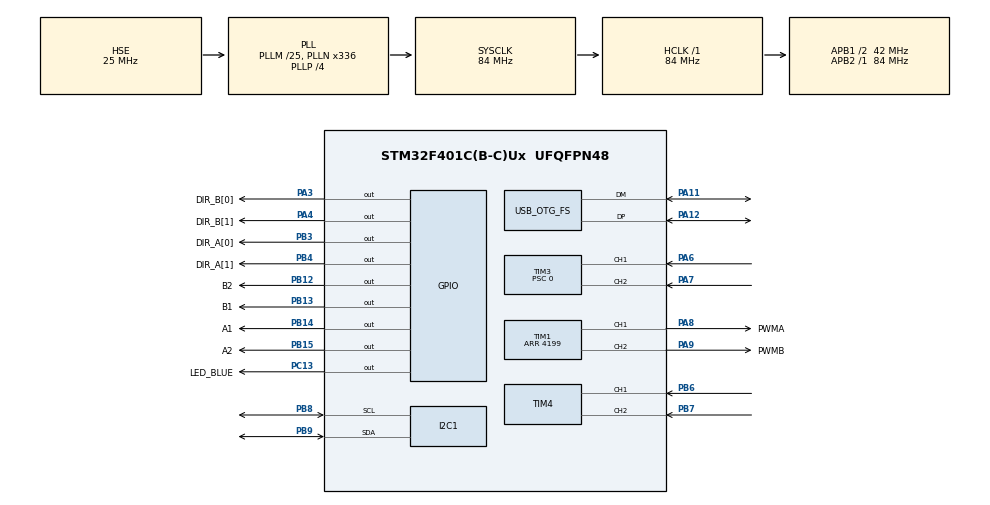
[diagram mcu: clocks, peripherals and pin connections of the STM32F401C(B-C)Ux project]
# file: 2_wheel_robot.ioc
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FREERTOS.Tasks01=defaultTask,0,128,StartDefaultTask,Default,NULL,Dynamic,NULL,NULL;ControlTask,0,512,StartControlTask,Default,NULL,Dynamic,NULL,NULL;MPUTask,3,512,StartMPUTask,Default,NULL,Dynamic,NULL,NULL
I2C1.I2C_Mode=I2C_Fast
Mcu.Family=STM32F4
Mcu.Name=STM32F401C(B-C)Ux
Mcu.Package=UFQFPN48
NVIC.OTG_FS_IRQn=true\:5\:0\:false\:false\:true\:true\:false\:true\:true
NVIC.PriorityGroup=NVIC_PRIORITYGROUP_4
NVIC.TIM1_BRK_TIM9_IRQn=true\:15\:0\:false\:false\:true\:false\:false\:true\:true
NVIC.TIM2_IRQn=true\:5\:0\:true\:false\:true\:true\:true\:true\:true
NVIC.TimeBase=TIM1_BRK_TIM9_IRQn
NVIC.TimeBaseIP=TIM9
PA11.Mode=Device_Only
PA11.Signal=USB_OTG_FS_DM
PA12.Mode=Device_Only
PA12.Signal=USB_OTG_FS_DP
PA13.Mode=Serial_Wire
PA13.Signal=SYS_JTMS-SWDIO
PA14.Mode=Serial_Wire
PA14.Signal=SYS_JTCK-SWCLK
PA3.GPIO_Label=DIR_B[0]
PA3.Signal=GPIO_Output
PA4.GPIO_Label=DIR_B[1]
PA4.Signal=GPIO_Output
PA6.Signal=S_TIM3_CH1
PA7.Signal=S_TIM3_CH2
PA8.GPIO_Label=PWMA
PA8.Signal=S_TIM1_CH1
PA9.GPIO_Label=PWMB
PA9.Signal=S_TIM1_CH2
PB12.GPIO_Label=B2
PB12.Signal=GPIO_Output
PB13.GPIO_Label=B1
PB13.Signal=GPIO_Output
PB14.GPIO_Label=A1
PB14.Signal=GPIO_Output
PB15.GPIO_Label=A2
PB15.Signal=GPIO_Output
PB3.GPIO_Label=DIR_A[0]
PB3.Signal=GPIO_Output
PB4.GPIO_Label=DIR_A[1]
PB4.Signal=GPIO_Output
PB6.Signal=S_TIM4_CH1
PB7.Signal=S_TIM4_CH2
PB8.Mode=I2C
PB8.Signal=I2C1_SCL
PB9.Mode=I2C
PB9.Signal=I2C1_SDA
PC13-ANTI_TAMP.GPIO_Label=LED_BLUE
PC13-ANTI_TAMP.Signal=GPIO_Output
PC14-OSC32_IN.Mode=LSE-External-Oscillator
PC14-OSC32_IN.Signal=RCC_OSC32_IN
PC15-OSC32_OUT.Mode=LSE-External-Oscillator
PC15-OSC32_OUT.Signal=RCC_OSC32_OUT
PH0\ -\ OSC_IN.Mode=HSE-External-Oscillator
PH0\ -\ OSC_IN.Signal=RCC_OSC_IN
PH1\ -\ OSC_OUT.Mode=HSE-External-Oscillator
PH1\ -\ OSC_OUT.Signal=RCC_OSC_OUT
ProjectManager.HeapSize=0x200
ProjectManager.StackSize=0x400
ProjectManager.TargetToolchain=STM32CubeIDE
RCC.48MHZClocksFreq_Value=48000000
RCC.AHBFreq_Value=84000000
RCC.APB1CLKDivider=RCC_HCLK_DIV2
RCC.APB1Freq_Value=42000000
RCC.APB1TimFreq_Value=84000000
RCC.APB2Freq_Value=84000000
RCC.APB2TimFreq_Value=84000000
RCC.CortexFreq_Value=84000000
RCC.HCLKFreq_Value=84000000
RCC.HSE_VALUE=25000000
RCC.HSI_VALUE=16000000
RCC.PLLM=25
RCC.PLLN=336
RCC.PLLP=RCC_PLLP_DIV4
RCC.PLLQ=7
RCC.SYSCLKFreq_VALUE=84000000
RCC.SYSCLKSource=RCC_SYSCLKSOURCE_PLLCLK
RCC.VCOOutputFreq_Value=336000000
SH.S_TIM1_CH1.0=TIM1_CH1,PWM Generation1 CH1
SH.S_TIM1_CH2.0=TIM1_CH2,PWM Generation2 CH2
SH.S_TIM3_CH1.0=TIM3_CH1,Encoder_Interface
SH.S_TIM3_CH2.0=TIM3_CH2,Encoder_Interface
SH.S_TIM4_CH1.0=TIM4_CH1,Encoder_Interface
SH.S_TIM4_CH2.0=TIM4_CH2,Encoder_Interface
TIM1.Channel-PWM\ Generation1\ CH1=TIM_CHANNEL_1
TIM1.Channel-PWM\ Generation2\ CH2=TIM_CHANNEL_2
TIM1.Period=4199
TIM2.Period=41999
TIM2.Prescaler=1
TIM3.EncoderMode=TIM_ENCODERMODE_TI12
TIM3.IC1Filter=10
TIM3.IC2Filter=10
TIM3.Period=65535
TIM3.Prescaler=0
TIM4.EncoderMode=TIM_ENCODERMODE_TI12
TIM4.IC1Filter=10
TIM4.IC2Filter=10
USB_DEVICE.CLASS_NAME_FS=CDC
USB_DEVICE.VirtualMode=Cdc
USB_DEVICE.VirtualModeFS=Cdc_FS
USB_OTG_FS.VirtualMode=Device_Only
VP_FREERTOS_VS_CMSIS_V1.Mode=CMSIS_V1
VP_SYS_VS_tim9.Mode=TIM9
VP_TIM1_VS_ClockSourceINT.Mode=Internal
VP_TIM2_VS_ClockSourceINT.Mode=Internal
VP_USB_DEVICE_VS_USB_DEVICE_CDC_FS.Mode=CDC_FS
board=custom

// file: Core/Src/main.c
/* USER CODE BEGIN Header */
/**
  ******************************************************************************
  * @file           : main.c
  * @brief          : Main program body
  ******************************************************************************
  * @attention
  *
  * Copyright (c) 2025 STMicroelectronics.
  * All rights reserved.
  *
  * This software is licensed under terms that can be found in the LICENSE file
  * in the root directory of this software component.
  * If no LICENSE file comes with this software, it is provided AS-IS.
  *
  ******************************************************************************
  */
/* USER CODE END Header */
#include "main.h"
#include "cmsis_os.h"
#include "usb_device.h"

/* USER CODE BEGIN Includes */
#include "mpu6050.h"
#include "pid.h"
#include "DCmotor.h"
#include "stdio.h"
#include "usbd_cdc_if.h"
#include "send_data.h"
#include <math.h>
/* USER CODE END Includes */

/* USER CODE BEGIN PD */
#define RAD_TO_DEG 			57.2957795
#define	DELTA				5.0f
#define MPU_DELTA			0.5f
#define MPU_DT				((float)MPU_DELTA / 1000.0)
#define DT_SECONDS 			0.005f
#define MAX_SPEED			150U
// ms
/* USER CODE END PD */

I2C_HandleTypeDef hi2c1;

TIM_HandleTypeDef htim1;
TIM_HandleTypeDef htim2;
TIM_HandleTypeDef htim3;
TIM_HandleTypeDef htim4;

osThreadId defaultTaskHandle;
osThreadId ControlTaskHandle;
osThreadId MPUTaskHandle;
/* USER CODE BEGIN PV */

DCmotor motor1 = {
    .PORT_M1 = A1_GPIO_Port, .PIN_M1 = A1_Pin,
    .PORT_M2 = A2_GPIO_Port, .PIN_M2 = A2_Pin,
    .pwm_tim = &htim1, .pwm_channel = TIM_CHANNEL_1,
    .encoder_tim = &htim3
};
DCmotor motor2 = {
    .PORT_M1 = B1_GPIO_Port, .PIN_M1 = B1_Pin,
    .PORT_M2 = B2_GPIO_Port, .PIN_M2 = B2_Pin,
    .pwm_tim = &htim1, .pwm_channel = TIM_CHANNEL_2,
    .encoder_tim = &htim4
};
//extern USBD_HandleTypeDef hUsbDeviceFS;
volatile int speed = 0, delta = 0;
volatile uint_fast8_t update_log = 0;
MPUData mpudata;
static float_t pre_angle = 0.0f, setpoint = 0.0f, setpoint_physical = 4.8f;
float alpha[2] = {0.998f, 0.25f};

static float filt_rpm1 	= 0.0f,
			 filt_rpm2 	= 0.0f,
			 filt_angle = 0.0f;

PIDParam Ks = {
    .Kp = 0.02f,
    .Ki = 0.00f,
    .Kd = 0.0f,
	.Kff = 0.0f
};
PIDParam Ka = {15.68, 0.0, 0.4015};

PIDError angle_error1 = {0};
PIDError speed_error1 = {0};
PIDError speed_error2 = {0};
/* USER CODE END PV */

void SystemClock_Config(void);
static void MX_GPIO_Init(void);
static void MX_I2C1_Init(void);
static void MX_TIM1_Init(void);
static void MX_TIM3_Init(void);
static void MX_TIM4_Init(void);
static void MX_TIM2_Init(void);
void StartDefaultTask(void const * argument);
void StartControlTask(void const * argument);
void StartMPUTask(void const * argument);

/* USER CODE BEGIN PFP */
void Robo_Init();
/* USER CODE END PFP */

int main(void)
{

  /* MCU Configuration--------------------------------------------------------*/

  /* Reset of all peripherals, Initializes the Flash interface and the Systick. */
  HAL_Init();

  /* Configure the system clock */
  SystemClock_Config();

  /* Initialize all configured peripherals */
  MX_GPIO_Init();
  MX_I2C1_Init();
  MX_TIM1_Init();
  MX_TIM3_Init();
  MX_TIM4_Init();
  MX_TIM2_Init();
  /* USER CODE BEGIN 2 */

  HAL_GPIO_WritePin(GPIOC,LED_BLUE_Pin, GPIO_PIN_SET);
  MPU6050_Init(&hi2c1);
  MX_USB_DEVICE_Init();
  // Initialize angle
  MPU6050_Read_Data(&hi2c1, &mpudata);
  Robo_Init();

  HAL_TIM_PWM_Start(&htim1, TIM_CHANNEL_1);
  HAL_TIM_PWM_Start(&htim1, TIM_CHANNEL_2);
  HAL_TIM_Encoder_Start(&htim3, TIM_CHANNEL_ALL);
  HAL_TIM_Encoder_Start(&htim4, TIM_CHANNEL_ALL);

  /* USER CODE END 2 */

  /* Create the thread(s) */
  /* definition and creation of defaultTask */
  osThreadDef(defaultTask, StartDefaultTask, osPriorityNormal, 0, 128);
  defaultTaskHandle = osThreadCreate(osThread(defaultTask), NULL);

  /* definition and creation of ControlTask */
  osThreadDef(ControlTask, StartControlTask, osPriorityNormal, 0, 512);
  ControlTaskHandle = osThreadCreate(osThread(ControlTask), NULL);

  /* definition and creation of MPUTask */
  osThreadDef(MPUTask, StartMPUTask, osPriorityRealtime, 0, 512);
  MPUTaskHandle = osThreadCreate(osThread(MPUTask), NULL);

  /* Start scheduler */
  osKernelStart();

  /* We should never get here as control is now taken by the scheduler */

  /* Infinite loop */
  /* USER CODE BEGIN WHILE */

  while (1)
  {
//	  if (update_log) {
//		  update_log = 0;
//		  MPU6050_Read_Data(&hi2c1, &mpudata);
//
////		  uint32_t previousWakeTime = osKernelSysTick();
////		  PID_motor_calculate(&Ka, &angle_error1, setpoint, filt_angle, dt_seconds);
////		  speed = 10; // 50 RPM
//		  // 3. Tính toán tốc độ (RPM)
//		  int32_t delta_tick1 = DCmotor_getEncoder(&motor1);
//		  int32_t delta_tick2 = DCmotor_getEncoder(&motor2);
//		  //////	      delta = delta_tick1 ;
//		  ////	      // Kiểm tra TICK_P_REV đã define chưa
//		  float current_rpm1 = ((float)delta_tick1 / TICK_P_REV) * (60000.0f / DELTA);
//		  float current_rpm2 = ((float)delta_tick2 / TICK_P_REV) * (60000.0f / DELTA);
//		  //	      speed = -1;
//		  ////	      // Lọc thông thấp cho RPM
//		  filt_rpm1 = (alpha[1] * current_rpm1) + ((1.0f - alpha[1]) * filt_rpm1);
//		  filt_rpm2 = (alpha[1] * current_rpm2) + ((1.0f - alpha[1]) * filt_rpm2);
//		  ////	      // 4. Tính PID điều khiển động cơ
//		  float pwm_req1 = PID_motor_calculate(&Ks, &speed_error1, (float)speed, filt_rpm1, dt_seconds);
//		  float pwm_req2 = PID_motor_calculate(&Ks, &speed_error2, (float)speed, filt_rpm2, dt_seconds);
//		  //	      pwm_req1 = 50; pwm_req2 = 20;
//		  DCmotor_Drive(&motor1, pwm_req1);
//		  DCmotor_Drive(&motor2, pwm_req2);
//		  static char tx_buf[CDC_DATA_FS_MAX_PACKET_SIZE];
////		   In ra: Target, Raw1, Filtered1
//		  sprintf(tx_buf, "%d,%.2f,%.2f\r\n", speed, filt_rpm2, filt_rpm1);
//		  CDC_Transmit_FS((uint8_t*)tx_buf, strlen(tx_buf));
//	  }
    /* USER CODE END WHILE */

  }
}

void SystemClock_Config(void)
{
  RCC_OscInitTypeDef RCC_OscInitStruct = {0};
  RCC_ClkInitTypeDef RCC_ClkInitStruct = {0};

  /** Configure the main internal regulator output voltage
  */
  __HAL_RCC_PWR_CLK_ENABLE();
  __HAL_PWR_VOLTAGESCALING_CONFIG(PWR_REGULATOR_VOLTAGE_SCALE2);

  /** Initializes the RCC Oscillators according to the specified parameters
  * in the RCC_OscInitTypeDef structure.
  */
  RCC_OscInitStruct.OscillatorType = RCC_OSCILLATORTYPE_HSE;
  RCC_OscInitStruct.HSEState = RCC_HSE_ON;
  RCC_OscInitStruct.PLL.PLLState = RCC_PLL_ON;
  RCC_OscInitStruct.PLL.PLLSource = RCC_PLLSOURCE_HSE;
  RCC_OscInitStruct.PLL.PLLM = 25;
  RCC_OscInitStruct.PLL.PLLN = 336;
  RCC_OscInitStruct.PLL.PLLP = RCC_PLLP_DIV4;
  RCC_OscInitStruct.PLL.PLLQ = 7;
  if (HAL_RCC_OscConfig(&RCC_OscInitStruct) != HAL_OK)
  {
    Error_Handler();
  }

  /** Initializes the CPU, AHB and APB buses clocks
  */
  RCC_ClkInitStruct.ClockType = RCC_CLOCKTYPE_HCLK|RCC_CLOCKTYPE_SYSCLK
                              |RCC_CLOCKTYPE_PCLK1|RCC_CLOCKTYPE_PCLK2;
  RCC_ClkInitStruct.SYSCLKSource = RCC_SYSCLKSOURCE_PLLCLK;
  RCC_ClkInitStruct.AHBCLKDivider = RCC_SYSCLK_DIV1;
  RCC_ClkInitStruct.APB1CLKDivider = RCC_HCLK_DIV2;
  RCC_ClkInitStruct.APB2CLKDivider = RCC_HCLK_DIV1;

  if (HAL_RCC_ClockConfig(&RCC_ClkInitStruct, FLASH_LATENCY_2) != HAL_OK)
  {
    Error_Handler();
  }
}

static void MX_I2C1_Init(void)
{

  hi2c1.Instance = I2C1;
  hi2c1.Init.ClockSpeed = 400000;
  hi2c1.Init.DutyCycle = I2C_DUTYCYCLE_2;
  hi2c1.Init.OwnAddress1 = 0;
  hi2c1.Init.AddressingMode = I2C_ADDRESSINGMODE_7BIT;
  hi2c1.Init.DualAddressMode = I2C_DUALADDRESS_DISABLE;
  hi2c1.Init.OwnAddress2 = 0;
  hi2c1.Init.GeneralCallMode = I2C_GENERALCALL_DISABLE;
  hi2c1.Init.NoStretchMode = I2C_NOSTRETCH_DISABLE;
  if (HAL_I2C_Init(&hi2c1) != HAL_OK)
  {
    Error_Handler();
  }

}

static void MX_TIM1_Init(void)
{

  TIM_ClockConfigTypeDef sClockSourceConfig = {0};
  TIM_MasterConfigTypeDef sMasterConfig = {0};
  TIM_OC_InitTypeDef sConfigOC = {0};
  TIM_BreakDeadTimeConfigTypeDef sBreakDeadTimeConfig = {0};

  htim1.Instance = TIM1;
  htim1.Init.Prescaler = 0;
  htim1.Init.CounterMode = TIM_COUNTERMODE_UP;
  htim1.Init.Period = 4199;
  htim1.Init.ClockDivision = TIM_CLOCKDIVISION_DIV1;
  htim1.Init.RepetitionCounter = 0;
  htim1.Init.AutoReloadPreload = TIM_AUTORELOAD_PRELOAD_DISABLE;
  if (HAL_TIM_Base_Init(&htim1) != HAL_OK)
  {
    Error_Handler();
  }
  sClockSourceConfig.ClockSource = TIM_CLOCKSOURCE_INTERNAL;
  if (HAL_TIM_ConfigClockSource(&htim1, &sClockSourceConfig) != HAL_OK)
  {
    Error_Handler();
  }
  if (HAL_TIM_PWM_Init(&htim1) != HAL_OK)
  {
    Error_Handler();
  }
  sMasterConfig.MasterOutputTrigger = TIM_TRGO_RESET;
  sMasterConfig.MasterSlaveMode = TIM_MASTERSLAVEMODE_DISABLE;
  if (HAL_TIMEx_MasterConfigSynchronization(&htim1, &sMasterConfig) != HAL_OK)
  {
    Error_Handler();
  }
  sConfigOC.OCMode = TIM_OCMODE_PWM1;
  sConfigOC.Pulse = 0;
  sConfigOC.OCPolarity = TIM_OCPOLARITY_HIGH;
  sConfigOC.OCNPolarity = TIM_OCNPOLARITY_HIGH;
  sConfigOC.OCFastMode = TIM_OCFAST_DISABLE;
  sConfigOC.OCIdleState = TIM_OCIDLESTATE_RESET;
  sConfigOC.OCNIdleState = TIM_OCNIDLESTATE_RESET;
  if (HAL_TIM_PWM_ConfigChannel(&htim1, &sConfigOC, TIM_CHANNEL_1) != HAL_OK)
  {
    Error_Handler();
  }
  if (HAL_TIM_PWM_ConfigChannel(&htim1, &sConfigOC, TIM_CHANNEL_2) != HAL_OK)
  {
    Error_Handler();
  }
  sBreakDeadTimeConfig.OffStateRunMode = TIM_OSSR_DISABLE;
  sBreakDeadTimeConfig.OffStateIDLEMode = TIM_OSSI_DISABLE;
  sBreakDeadTimeConfig.LockLevel = TIM_LOCKLEVEL_OFF;
  sBreakDeadTimeConfig.DeadTime = 0;
  sBreakDeadTimeConfig.BreakState = TIM_BREAK_DISABLE;
  sBreakDeadTimeConfig.BreakPolarity = TIM_BREAKPOLARITY_HIGH;
  sBreakDeadTimeConfig.AutomaticOutput = TIM_AUTOMATICOUTPUT_DISABLE;
  if (HAL_TIMEx_ConfigBreakDeadTime(&htim1, &sBreakDeadTimeConfig) != HAL_OK)
  {
    Error_Handler();
  }
  HAL_TIM_MspPostInit(&htim1);

}

static void MX_TIM2_Init(void)
{

  TIM_ClockConfigTypeDef sClockSourceConfig = {0};
  TIM_MasterConfigTypeDef sMasterConfig = {0};

  htim2.Instance = TIM2;
  htim2.Init.Prescaler = 1;
  htim2.Init.CounterMode = TIM_COUNTERMODE_UP;
  htim2.Init.Period = 41999;
  htim2.Init.ClockDivision = TIM_CLOCKDIVISION_DIV1;
  htim2.Init.AutoReloadPreload = TIM_AUTORELOAD_PRELOAD_DISABLE;
  if (HAL_TIM_Base_Init(&htim2) != HAL_OK)
  {
    Error_Handler();
  }
  sClockSourceConfig.ClockSource = TIM_CLOCKSOURCE_INTERNAL;
  if (HAL_TIM_ConfigClockSource(&htim2, &sClockSourceConfig) != HAL_OK)
  {
    Error_Handler();
  }
  sMasterConfig.MasterOutputTrigger = TIM_TRGO_RESET;
  sMasterConfig.MasterSlaveMode = TIM_MASTERSLAVEMODE_DISABLE;
  if (HAL_TIMEx_MasterConfigSynchronization(&htim2, &sMasterConfig) != HAL_OK)
  {
    Error_Handler();
  }

}

static void MX_TIM3_Init(void)
{

  TIM_Encoder_InitTypeDef sConfig = {0};
  TIM_MasterConfigTypeDef sMasterConfig = {0};

  htim3.Instance = TIM3;
  htim3.Init.Prescaler = 0;
  htim3.Init.CounterMode = TIM_COUNTERMODE_UP;
  htim3.Init.Period = 65535;
  htim3.Init.ClockDivision = TIM_CLOCKDIVISION_DIV1;
  htim3.Init.AutoReloadPreload = TIM_AUTORELOAD_PRELOAD_DISABLE;
  sConfig.EncoderMode = TIM_ENCODERMODE_TI12;
  sConfig.IC1Polarity = TIM_ICPOLARITY_RISING;
  sConfig.IC1Selection = TIM_ICSELECTION_DIRECTTI;
  sConfig.IC1Prescaler = TIM_ICPSC_DIV1;
  sConfig.IC1Filter = 10;
  sConfig.IC2Polarity = TIM_ICPOLARITY_RISING;
  sConfig.IC2Selection = TIM_ICSELECTION_DIRECTTI;
  sConfig.IC2Prescaler = TIM_ICPSC_DIV1;
  sConfig.IC2Filter = 10;
  if (HAL_TIM_Encoder_Init(&htim3, &sConfig) != HAL_OK)
  {
    Error_Handler();
  }
  sMasterConfig.MasterOutputTrigger = TIM_TRGO_RESET;
  sMasterConfig.MasterSlaveMode = TIM_MASTERSLAVEMODE_DISABLE;
  if (HAL_TIMEx_MasterConfigSynchronization(&htim3, &sMasterConfig) != HAL_OK)
  {
    Error_Handler();
  }

}

static void MX_TIM4_Init(void)
{

  TIM_Encoder_InitTypeDef sConfig = {0};
  TIM_MasterConfigTypeDef sMasterConfig = {0};

  htim4.Instance = TIM4;
  htim4.Init.Prescaler = 0;
  htim4.Init.CounterMode = TIM_COUNTERMODE_UP;
  htim4.Init.Period = 65535;
  htim4.Init.ClockDivision = TIM_CLOCKDIVISION_DIV1;
  htim4.Init.AutoReloadPreload = TIM_AUTORELOAD_PRELOAD_DISABLE;
  sConfig.EncoderMode = TIM_ENCODERMODE_TI12;
  sConfig.IC1Polarity = TIM_ICPOLARITY_RISING;
  sConfig.IC1Selection = TIM_ICSELECTION_DIRECTTI;
  sConfig.IC1Prescaler = TIM_ICPSC_DIV1;
  sConfig.IC1Filter = 10;
  sConfig.IC2Polarity = TIM_ICPOLARITY_RISING;
  sConfig.IC2Selection = TIM_ICSELECTION_DIRECTTI;
  sConfig.IC2Prescaler = TIM_ICPSC_DIV1;
  sConfig.IC2Filter = 10;
  if (HAL_TIM_Encoder_Init(&htim4, &sConfig) != HAL_OK)
  {
    Error_Handler();
  }
  sMasterConfig.MasterOutputTrigger = TIM_TRGO_RESET;
  sMasterConfig.MasterSlaveMode = TIM_MASTERSLAVEMODE_DISABLE;
  if (HAL_TIMEx_MasterConfigSynchronization(&htim4, &sMasterConfig) != HAL_OK)
  {
    Error_Handler();
  }

}

static void MX_GPIO_Init(void)
{
  GPIO_InitTypeDef GPIO_InitStruct = {0};

  /* GPIO Ports Clock Enable */
  __HAL_RCC_GPIOC_CLK_ENABLE();
  __HAL_RCC_GPIOH_CLK_ENABLE();
  __HAL_RCC_GPIOA_CLK_ENABLE();
  __HAL_RCC_GPIOB_CLK_ENABLE();

  /*Configure GPIO pin Output Level */
  HAL_GPIO_WritePin(LED_BLUE_GPIO_Port, LED_BLUE_Pin, GPIO_PIN_RESET);

  /*Configure GPIO pin Output Level */
  HAL_GPIO_WritePin(GPIOA, DIR_B_Pin|DIR_BA4_Pin, GPIO_PIN_RESET);

  /*Configure GPIO pin Output Level */
  HAL_GPIO_WritePin(GPIOB, B2_Pin|B1_Pin|A1_Pin|A2_Pin
                          |DIR_A_Pin|DIR_AB4_Pin, GPIO_PIN_RESET);

  /*Configure GPIO pin : LED_BLUE_Pin */
  GPIO_InitStruct.Pin = LED_BLUE_Pin;
  GPIO_InitStruct.Mode = GPIO_MODE_OUTPUT_PP;
  GPIO_InitStruct.Pull = GPIO_NOPULL;
  GPIO_InitStruct.Speed = GPIO_SPEED_FREQ_LOW;
  HAL_GPIO_Init(LED_BLUE_GPIO_Port, &GPIO_InitStruct);

  /*Configure GPIO pins : DIR_B_Pin DIR_BA4_Pin */
  GPIO_InitStruct.Pin = DIR_B_Pin|DIR_BA4_Pin;
  GPIO_InitStruct.Mode = GPIO_MODE_OUTPUT_PP;
  GPIO_InitStruct.Pull = GPIO_NOPULL;
  GPIO_InitStruct.Speed = GPIO_SPEED_FREQ_LOW;
  HAL_GPIO_Init(GPIOA, &GPIO_InitStruct);

  /*Configure GPIO pins : B2_Pin B1_Pin A1_Pin A2_Pin
                           DIR_A_Pin DIR_AB4_Pin */
  GPIO_InitStruct.Pin = B2_Pin|B1_Pin|A1_Pin|A2_Pin
                          |DIR_A_Pin|DIR_AB4_Pin;
  GPIO_InitStruct.Mode = GPIO_MODE_OUTPUT_PP;
  GPIO_InitStruct.Pull = GPIO_NOPULL;
  GPIO_InitStruct.Speed = GPIO_SPEED_FREQ_LOW;
  HAL_GPIO_Init(GPIOB, &GPIO_InitStruct);

}

/* USER CODE BEGIN 4 */
void Robo_Init()
{
	HAL_GPIO_WritePin(GPIOC, LED_BLUE_Pin, GPIO_PIN_RESET); // Bật đèn báo đang calib
	HAL_GPIO_WritePin(motor1.PORT_M1, motor1.PIN_M1, GPIO_PIN_SET);
	HAL_GPIO_WritePin(motor1.PORT_M2, motor1.PIN_M2, GPIO_PIN_SET);
	HAL_GPIO_WritePin(motor2.PORT_M1, motor2.PIN_M1, GPIO_PIN_SET);
	HAL_GPIO_WritePin(motor2.PORT_M2, motor2.PIN_M2, GPIO_PIN_SET);

	mpudata.Accel_Y_Offset = 0;
	mpudata.Accel_Y_RAW    = 0;
	mpudata.Accel_Z_Offset = 0;
	mpudata.Accel_Z_RAW	 = 0;
	mpudata.GYRO_X		 = 0;
//	setpoint_physical = MPU6050_Calib(&hi2c1, &mpudata); // Robot phải đứng yên thẳng đứng lúc này

	pre_angle = setpoint_physical;
//	setpoint_physical = 4.0f;
	angle_error1.prevDerivative =0;
	angle_error1.integral = 0;
	angle_error1.prevError = 0;
	speed_error1.integral = 0;
	speed_error2.prevDerivative = 0;
	speed_error2.prevError = 0;
	speed_error2.integral = 0;
	motor1.last_counter_value = (int16_t)__HAL_TIM_GET_COUNTER(motor1.encoder_tim);
	motor2.last_counter_value = (int16_t)__HAL_TIM_GET_COUNTER(motor2.encoder_tim);
	HAL_GPIO_WritePin(GPIOC, LED_BLUE_Pin, GPIO_PIN_SET); // Tắt đèn báo xong
}
/* USER CODE END 4 */

void StartDefaultTask(void const * argument)
{
  /* init code for USB_DEVICE */
  MX_USB_DEVICE_Init();
  /* USER CODE BEGIN 5 */
  HAL_TIM_Base_Start_IT(&htim2);
  /* Infinite loop */
  for(;;)
  {
	  osDelay(1);
  }
  /* USER CODE END 5 */
}

void StartControlTask(void const * argument)
{
  /* USER CODE BEGIN StartControlTask */
	 float speed_target = 0.0f; // 0
	 float speed_output = 0.0f;
  /* Infinite loop */
  for(;;)
  {
	  ulTaskNotifyTake(pdTRUE, portMAX_DELAY);
//	  MPU6050_Read_Data(&hi2c1, &mpudata);

	  //		  uint32_t previousWakeTime = osKernelSysTick();
	  //		  PID_motor_calculate(&Ka, &angle_error1, setpoint, filt_angle, dt_seconds);
	  //		  speed = 10; // 50 RPM
	  		  // 3. Tính toán tốc độ (RPM)
	  int32_t delta_tick1 = DCmotor_getEncoder(&motor1);
	  int32_t delta_tick2 = DCmotor_getEncoder(&motor2);
	  		  //////	      delta = delta_tick1 ;
	  		  ////	      // Kiểm tra TICK_P_REV đã define chưa
	  float current_rpm1 = ((float)delta_tick1 / TICK_P_REV) * (60000.0f / DELTA);
	  float current_rpm2 = ((float)delta_tick2 / TICK_P_REV) * (60000.0f / DELTA);
	  		  //	      speed = -1;
	  		  ////	      // Lọc thông thấp cho RPM
	  filt_rpm1 = (alpha[1] * current_rpm1) + ((1.0f - alpha[1]) * filt_rpm1);
	  filt_rpm2 = (alpha[1] * current_rpm2) + ((1.0f - alpha[1]) * filt_rpm2);
// 4. Tính PID điều khiển động cơ

	  float avg_speed = (filt_rpm1 + filt_rpm2) / 2.0f;
//	  float pwm_req1 = PID_motor_calculate(&Ks, &speed_error1, (float)speed, filt_rpm1, dt_seconds);
//	  float pwm_req2 = PID_motor_calculate(&Ks, &speed_error2, (float)speed, filt_rpm2, dt_seconds);
	  speed_output = PID_motor_calculate(&Ks, &speed_error1, speed_target, avg_speed, DT_SECONDS);

	  if (speed_output > 5.0f) speed_output = 5.0f;
	  if (speed_output < -5.0f) speed_output = -5.0f;

	  setpoint =  setpoint_physical + speed_output;
//	  pwm_req1 = 50; pwm_req2 = 20;
//	  DCmotor_Drive(&motor1, pwm_req1);
//	  DCmotor_Drive(&motor1, speed);
//	  DCmotor_Drive(&motor2, speed);
//	  DCmotor_Drive(&motor2, pwm_req2);
//	  static char tx_buf[CDC_DATA_FS_MAX_PACKET_SIZE];
//	  //		   In ra: Target, Raw1, Filtered1
//	  sprintf(tx_buf, "%.2f,%.2f\r\n",setpoint, filt_angle);
//	  CDC_Transmit_FS((uint8_t*)tx_buf, strlen(tx_buf));
  }
  /* USER CODE END StartControlTask */
}

void StartMPUTask(void const * argument)
{
  /* USER CODE BEGIN StartMPUTask */
  float accel_angle;
  float pwm;
  /* Infinite loop */
  for(;;)
  {
      ulTaskNotifyTake(pdTRUE, portMAX_DELAY);
      MPU6050_Read_Data(&hi2c1, &mpudata);
      accel_angle = atan2(mpudata.Accel_Y_RAW, mpudata.Accel_Z_RAW) * RAD_TO_DEG;
	  filt_angle = alpha[0] * (filt_angle + mpudata.GYRO_X * MPU_DT) + (1.0f - alpha[0]) * accel_angle;

	  pwm = PID_angle_calculate(&Ka,
	                                 &angle_error1,
	                                 setpoint,
	                                 filt_angle,
	                                 &mpudata,
	                                 MPU_DT);
	  if (filt_angle > 45.0f || filt_angle < -45.0f) {
		  DCmotor_Drive(&motor1, 0);
		  DCmotor_Drive(&motor2, 0);
	  }
	  if (pwm > 100) pwm = 100;
	  else if (pwm < -100) pwm = -100;

	  DCmotor_Drive(&motor1, -pwm);
//	  DCmotor_Drive(&motor1, speed);
//	  DCmotor_Drive(&motor2, speed);
	  DCmotor_Drive(&motor2, -pwm);
  }
  /* USER CODE END StartMPUTask */
}

void HAL_TIM_PeriodElapsedCallback(TIM_HandleTypeDef *htim)
{
  /* USER CODE BEGIN Callback 0 */
		if (htim->Instance == TIM2)
		{
			static uint8_t tick_div = 0;
			tick_div++;

			BaseType_t hpw = pdFALSE;

			// Notify MPU Task (1kHz)
			vTaskNotifyGiveFromISR(MPUTaskHandle, &hpw);

			// Notify Control Task (10Hz - Every 10 ticks)
			if (tick_div >= 10)
			{
				tick_div = 0;
				vTaskNotifyGiveFromISR(ControlTaskHandle, &hpw);
			}

			portYIELD_FROM_ISR(hpw);
		}
  /* USER CODE END Callback 0 */
  if (htim->Instance == TIM9)
  {
    HAL_IncTick();
  }
}

void Error_Handler(void)
{
  __disable_irq();
  while (1)
  {
  }
}
